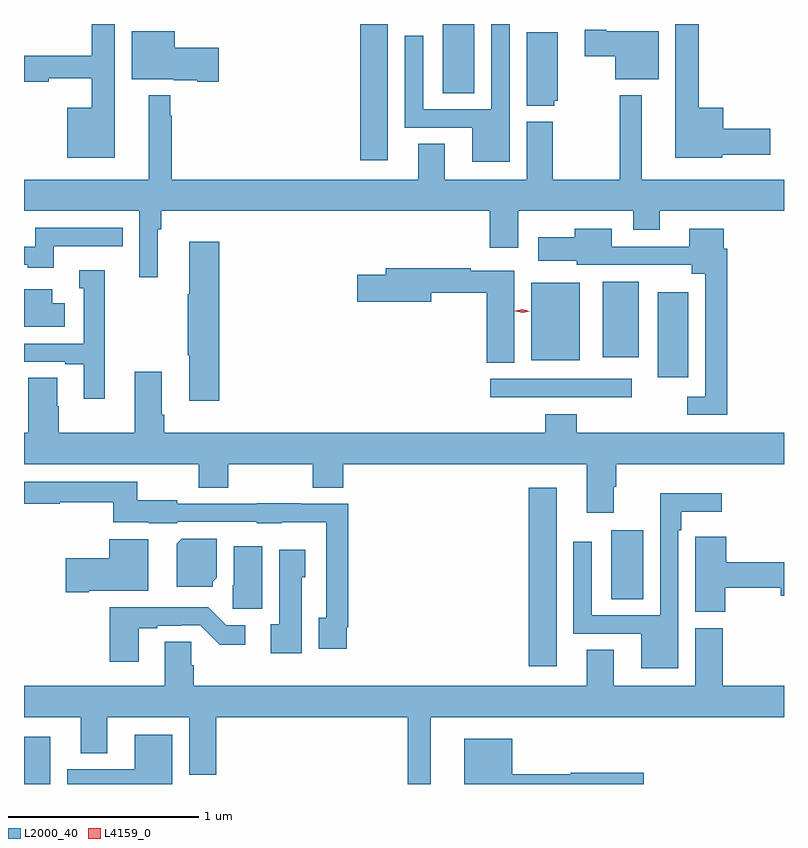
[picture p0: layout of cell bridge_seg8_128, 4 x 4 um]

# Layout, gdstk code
import gdstk
lib = gdstk.Library(unit=1e-6, precision=1e-09)
def R(c, l, rs):  # rectangles x0, y0, x1, y1
    for r in rs: c.add(gdstk.rectangle(r[:2], r[2:], *l))
def P(c, l, *ps):  # polygons
    for p in ps: c.add(gdstk.Polygon(p, *l))
L2000_40 = (2000, 40)
L4159_0 = (4159, 0)

bridge_seg8_128 = lib.new_cell('bridge_seg8_128')
R(bridge_seg8_128, L2000_40, [(736.119,1092.172,736.258,1092.421), (738.776,1092.792,738.922,1093.732), (739.211,1093.144,739.378,1093.507), (738.573,1094.208,739.318,1094.304), (739.454,1094.313,739.615,1094.761), (738.788,1094.402,739.045,1094.809), (739.166,1094.417,739.354,1094.815), (737.888,1095.456,738.034,1096.172), (738.323,1095.808,738.49,1096.171)])
P(bridge_seg8_128, L2000_40, [(738.675,1096.172),(738.579,1096.172),(738.579,1095.723),(738.219,1095.723),(738.219,1096.111),(738.123,1096.111),(738.123,1095.627),(738.479,1095.627),(738.479,1095.446),(738.675,1095.446)],
  [(736.597,1096.172),(736.476,1096.172),(736.476,1096.004),(736.119,1096.004),(736.119,1095.868),(736.25,1095.868),(736.25,1095.887),(736.476,1095.887),(736.476,1095.73),(736.346,1095.73),(736.346,1095.467),(736.597,1095.467)],
  [(739.794,1095.485),(740.047,1095.485),(740.047,1095.62),(739.798,1095.62),(739.798,1095.73),(739.669,1095.73),(739.669,1096.172),(739.547,1096.172),(739.547,1095.467),(739.794,1095.467)],
  [(739.459,1096.135),(739.183,1096.135),(739.183,1096.143),(739.071,1096.143),(739.071,1096.001),(739.232,1096.001),(739.232,1095.881),(739.459,1095.881)],
  [(737.143,1096.047),(736.912,1096.047),(736.912,1096.135),(736.685,1096.135),(736.685,1095.881),(736.908,1095.881),(736.908,1095.875),(737.03,1095.875),(737.03,1095.869),(737.143,1095.869)],
  [(738.909,1095.768),(738.928,1095.768),(738.928,1096.129),(738.764,1096.129),(738.764,1095.743),(738.909,1095.743)],
  [(736.822,1095.092),(736.841,1095.092),(736.841,1095.188),(738.569,1095.188),(738.569,1094.994),(738.721,1094.994),(738.721,1095.188),(739.325,1095.188),(739.325,1095.089),(739.465,1095.089),(739.465,1095.188),(740.119,1095.188),(740.119,1095.352),(739.369,1095.352),(739.369,1095.796),(739.255,1095.796),(739.255,1095.352),(738.903,1095.352),(738.903,1095.658),(738.764,1095.658),(738.764,1095.352),(738.334,1095.352),(738.334,1095.542),(738.194,1095.542),(738.194,1095.352),(736.897,1095.352),(736.897,1095.689),(736.889,1095.689),(736.889,1095.796),(736.775,1095.796),(736.775,1095.352),(736.119,1095.352),(736.119,1095.188),(736.725,1095.188),(736.725,1094.838),(736.822,1094.838)],
  [(736.276,1095.003),(736.64,1095.003),(736.64,1095.099),(736.177,1095.099),(736.177,1095),(736.119,1095),(736.119,1094.904),(736.14,1094.904),(736.14,1094.888),(736.276,1094.888)],
  [(739.82,1094.99),(739.801,1094.99),(739.801,1095.094),(739.619,1095.094),(739.619,1095),(739.213,1095),(739.213,1095.094),(739.018,1095.094),(739.018,1095.049),(738.825,1095.049),(738.825,1094.927),(739.029,1094.927),(739.029,1094.904),(739.634,1094.904),(739.634,1094.858),(739.704,1094.858),(739.704,1094.211),(739.611,1094.211),(739.611,1094.115),(739.82,1094.115)],
  [(737.147,1095.025),(736.988,1095.025),(736.988,1094.75),(736.981,1094.75),(736.981,1094.428),(736.988,1094.428),(736.988,1094.19),(737.147,1094.19)],
  [(738.7,1094.874),(738.47,1094.874),(738.47,1094.887),(738.023,1094.887),(738.023,1094.853),(737.874,1094.853),(737.874,1094.711),(738.262,1094.711),(738.262,1094.758),(738.554,1094.758),(738.554,1094.389),(738.7,1094.389)],
  [(736.543,1094.875),(736.409,1094.875),(736.409,1094.781),(736.434,1094.781),(736.434,1094.49),(736.119,1094.49),(736.119,1094.394),(736.337,1094.394),(736.337,1094.382),(736.433,1094.382),(736.433,1094.199),(736.543,1094.199)],
  [(736.333,1094.701),(736.267,1094.701),(736.267,1094.776),(736.119,1094.776),(736.119,1094.579),(736.333,1094.579)],
  [(736.142,1094.309),(736.142,1094.02),(736.119,1094.02),(736.119,1093.856),(737.038,1093.856),(737.038,1093.732),(737.193,1093.732),(737.193,1093.856),(737.638,1093.856),(737.638,1093.732),(737.798,1093.732),(737.798,1093.856),(739.082,1093.856),(739.082,1093.599),(739.222,1093.599),(739.222,1093.736),(739.235,1093.736),(739.235,1093.856),(740.119,1093.856),(740.119,1094.02),(739.028,1094.02),(739.028,1094.119),(738.863,1094.119),(738.863,1094.02),(736.856,1094.02),(736.856,1094.116),(736.843,1094.116),(736.843,1094.341),(736.703,1094.341),(736.703,1094.02),(736.302,1094.02),(736.302,1094.159),(736.294,1094.159),(736.294,1094.309)],
  [(737.818,1092.997),(737.825,1092.997),(737.825,1093.647),(737.575,1093.647),(737.575,1093.649),(737.343,1093.649),(737.343,1093.647),(736.926,1093.647),(736.926,1093.666),(736.714,1093.666),(736.714,1093.764),(736.119,1093.764),(736.119,1093.648),(736.308,1093.648),(736.308,1093.656),(736.589,1093.656),(736.589,1093.55),(736.776,1093.55),(736.776,1093.544),(736.926,1093.544),(736.926,1093.551),(737.343,1093.551),(737.343,1093.544),(737.475,1093.544),(737.475,1093.55),(737.709,1093.55),(737.709,1093.046),(737.669,1093.046),(737.669,1092.885),(737.818,1092.885)],
  [(739.563,1093.508),(739.579,1093.508),(739.579,1093.604),(739.792,1093.604),(739.792,1093.702),(739.467,1093.702),(739.467,1093.059),(739.107,1093.059),(739.107,1093.447),(739.011,1093.447),(739.011,1092.963),(739.367,1092.963),(739.367,1092.782),(739.563,1092.782)],
  [(739.809,1093.204),(740.102,1093.204),(740.102,1093.162),(740.119,1093.162),(740.119,1093.34),(739.814,1093.34),(739.814,1093.474),(739.653,1093.474),(739.653,1093.361),(739.652,1093.361),(739.652,1093.078),(739.809,1093.078)],
  [(737.112,1093.236),(737.134,1093.258),(737.134,1093.462),(736.948,1093.462),(736.922,1093.436),(736.922,1093.211),(737.112,1093.211)],
  [(736.461,1093.19),(736.774,1093.19),(736.774,1093.46),(736.568,1093.46),(736.568,1093.359),(736.338,1093.359),(736.338,1093.181),(736.461,1093.181)],
  [(737.374,1093.423),(737.222,1093.423),(737.222,1093.218),(737.218,1093.218),(737.218,1093.095),(737.374,1093.095)],
  [(737.581,1093.26),(737.599,1093.26),(737.599,1093.405),(737.462,1093.405),(737.462,1093.014),(737.417,1093.014),(737.417,1092.86),(737.581,1092.86)],
  [(736.723,1092.993),(736.819,1092.993),(736.819,1093.005),(736.946,1093.005),(736.946,1093.008),(737.046,1093.008),(737.149,1092.906),(737.284,1092.906),(737.284,1093.008),(737.184,1093.008),(737.09,1093.102),(736.571,1093.102),(736.571,1092.816),(736.723,1092.816)],
  [(738.259,1092.524),(740.119,1092.524),(740.119,1092.688),(739.796,1092.688),(739.796,1092.993),(739.652,1092.993),(739.652,1092.688),(739.222,1092.688),(739.222,1092.878),(739.082,1092.878),(739.082,1092.688),(737.012,1092.688),(737.012,1092.798),(736.998,1092.798),(736.998,1092.92),(736.859,1092.92),(736.859,1092.688),(736.119,1092.688),(736.119,1092.524),(736.418,1092.524),(736.418,1092.334),(736.558,1092.334),(736.558,1092.524),(736.988,1092.524),(736.988,1092.22),(737.132,1092.22),(737.132,1092.524),(738.138,1092.524),(738.138,1092.172),(738.259,1092.172)],
  [(736.899,1092.43),(736.703,1092.43),(736.703,1092.249),(736.347,1092.249),(736.347,1092.172),(736.899,1092.172)],
  [(739.381,1092.231),(738.996,1092.231),(738.996,1092.223),(738.688,1092.223),(738.688,1092.409),(738.437,1092.409),(738.437,1092.172),(739.381,1092.172)])
P(bridge_seg8_128, L4159_0, [(738.743,1094.651),(738.705,1094.661),(738.705,1094.661),(738.705,1094.662),(738.743,1094.671),(738.781,1094.661),(738.782,1094.661),(738.781,1094.661)])

lib.write_gds('bridge_seg8_128.gds')
